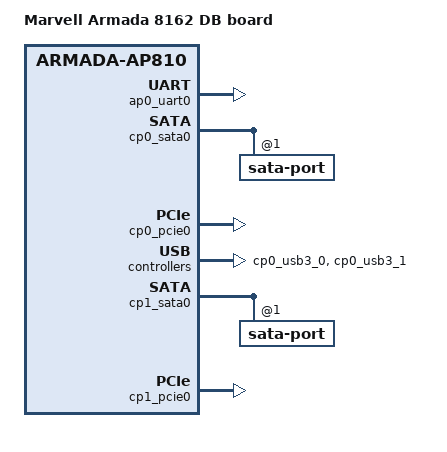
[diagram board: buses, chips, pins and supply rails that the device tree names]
// SPDX-License-Identifier: (GPL-2.0+ OR MIT)
/*
 * Copyright (C) 2018 Marvell Technology Group Ltd.
 *
 * Device Tree file for Marvell Armada-8162 Development board platform
 */

#include "armada-8162.dtsi"

/ {
	model = "Marvell Armada 8162 DB board";
	compatible = "marvell,armada-8162-db", "marvell,armada-8162",
		     "marvell,armada-ap810-octa", "marvell,armada-ap810";

	chosen {
		stdout-path = "serial0:115200n8";
	};

	memory0@ap0 {
		device_type = "memory";
		reg = <0x0 0x0 0x0 0x80000000>;
	};
};

&ap0_uart0 {
	clock-frequency = <200000000>;
	status = "okay";
};

&ap0_xor0 {
	status = "disabled";
};

&ap1_xor0 {
	status = "disabled";
};

&cp0_sata0 {
	status = "okay";
	sata-port@1 {
		reg = <1>;
		status = "okay";
	};
};

&cp0_pcie0 {
	status = "okay";
};

&cp0_usb3_0 {
	status = "okay";
};

&cp0_usb3_1 {
	status = "okay";
};

&cp1_sata0 {
	status = "okay";
	sata-port@1 {
		reg = <1>;
		status = "okay";
	};
};

&cp1_pcie0 {
	status = "okay";
};
